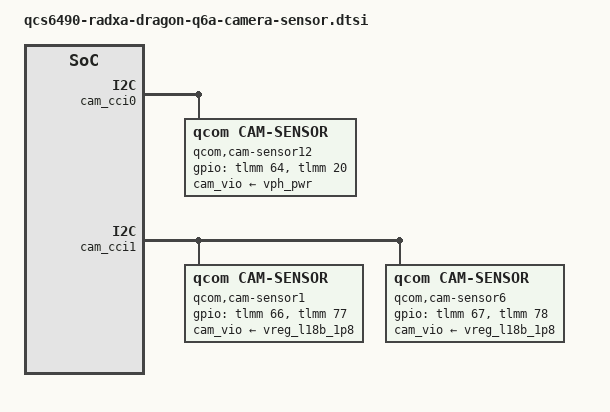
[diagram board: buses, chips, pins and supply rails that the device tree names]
// SPDX-License-Identifier: BSD-3-Clause
/*
 * Copyright (c) 2026 Radxa Computer (Shenzhen) Co., Ltd.
 */

#include <dt-bindings/camera/msm-camera.h>

&cam_cci0 {
	/* CAM1 (4-lane): Radxa Camera 12M IMX577. */
	qcom,cam-sensor12 {
		compatible = "qcom,cam-sensor";
		cell-index = <12>;
		csiphy-sd-index = <0>;
		sensor-position-roll = <0>;
		sensor-position-pitch = <0>;
		sensor-position-yaw = <180>;
		cam_vio-supply = <&vph_pwr>;
		regulator-names = "cam_vio";
		power-domains = <&camcc CAM_CC_TITAN_TOP_GDSC>;
		gpio-no-mux = <0>;
		pinctrl-0 = <&cam_sensor_mclk0_active
			     &cam_sensor_active_rst0>;
		pinctrl-1 = <&cam_sensor_mclk0_suspend
			     &cam_sensor_suspend_rst0>;
		pinctrl-names = "cam_default", "cam_suspend";
		gpios = <&tlmm 64 0>,
			<&tlmm 20 0>;
		gpio-reset = <1>;
		gpio-req-tbl-num = <0 1>;
		gpio-req-tbl-flags = <1 0>;
		gpio-req-tbl-label = "CAMIF_MCLK0",
				     "CAM_RESET0";
		sensor-mode = <0>;
		cci-master = <0>;
		clocks = <&camcc CAM_CC_MCLK0_CLK>;
		clock-names = "cam_clk";
		clock-cntl-level = "nominal";
		clock-rates = <24000000>;
		status = "ok";
	};
};

&cam_cci1 {
	/* CAM2 (15-pin): OV9281 uses the cam0a two-lane configuration. */
	qcom,cam-sensor1 {
		compatible = "qcom,cam-sensor";
		cell-index = <1>;
		csiphy-sd-index = <2>;
		sensor-position-roll = <0>;
		sensor-position-pitch = <0>;
		sensor-position-yaw = <180>;
		cam_vio-supply = <&vreg_l18b_1p8>;
		regulator-names = "cam_vio";
		power-domains = <&camcc CAM_CC_TITAN_TOP_GDSC>;
		rgltr-cntrl-support;
		pwm-switch;
		rgltr-min-voltage = <1800000>;
		rgltr-max-voltage = <1800000>;
		rgltr-load-current = <120000>;
		gpio-no-mux = <0>;
		pinctrl-0 = <&cam_sensor_mclk2_active
			     &cam_sensor_active_rst2>;
		pinctrl-1 = <&cam_sensor_mclk2_suspend
			     &cam_sensor_suspend_rst2>;
		pinctrl-names = "cam_default", "cam_suspend";
		gpios = <&tlmm 66 0>,
			<&tlmm 77 0>;
		gpio-reset = <1>;
		gpio-req-tbl-num = <0 1>;
		gpio-req-tbl-flags = <1 0>;
		gpio-req-tbl-label = "CAMIF_MCLK2",
				     "CAM_RESET2";
		sensor-mode = <0>;
		cci-master = <0>;
		clocks = <&camcc CAM_CC_MCLK2_CLK>;
		clock-names = "cam_clk";
		clock-cntl-level = "nominal";
		clock-rates = <24000000>;
		status = "ok";
	};

	/* CAM3 (15-pin): OV9281 uses the cam1 two-lane configuration. */
	qcom,cam-sensor6 {
		compatible = "qcom,cam-sensor";
		cell-index = <6>;
		csiphy-sd-index = <3>;
		sensor-position-roll = <0>;
		sensor-position-pitch = <0>;
		sensor-position-yaw = <180>;
		cam_vio-supply = <&vreg_l18b_1p8>;
		regulator-names = "cam_vio";
		power-domains = <&camcc CAM_CC_TITAN_TOP_GDSC>;
		rgltr-cntrl-support;
		pwm-switch;
		rgltr-min-voltage = <1800000>;
		rgltr-max-voltage = <1800000>;
		rgltr-load-current = <120000>;
		gpio-no-mux = <0>;
		pinctrl-0 = <&cam_sensor_mclk3_active
			     &cam_sensor_active_rst3>;
		pinctrl-1 = <&cam_sensor_mclk3_suspend
			     &cam_sensor_suspend_rst3>;
		pinctrl-names = "cam_default", "cam_suspend";
		gpios = <&tlmm 67 0>,
			<&tlmm 78 0>;
		gpio-reset = <1>;
		gpio-req-tbl-num = <0 1>;
		gpio-req-tbl-flags = <1 0>;
		gpio-req-tbl-label = "CAMIF_MCLK3",
				     "CAM_RESET3";
		sensor-mode = <0>;
		cci-master = <1>;
		clocks = <&camcc CAM_CC_MCLK3_CLK>;
		clock-names = "cam_clk";
		clock-cntl-level = "nominal";
		clock-rates = <24000000>;
		status = "ok";
	};
};

&soc {
	qcom,cam-res-mgr {
		compatible = "qcom,cam-res-mgr";
		status = "ok";
	};
};
